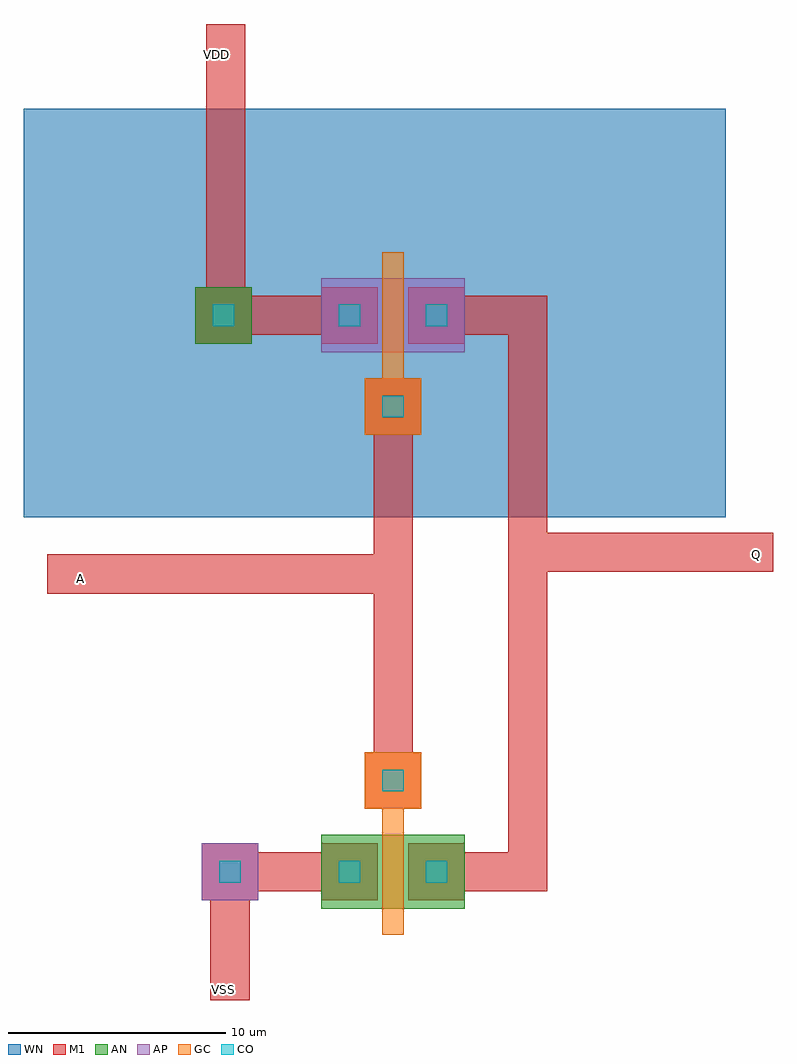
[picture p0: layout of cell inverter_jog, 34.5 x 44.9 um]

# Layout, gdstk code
import gdstk
lib = gdstk.Library(unit=1e-6, precision=1e-07)
def R(c, l, rs):  # rectangles x0, y0, x1, y1
    for r in rs: c.add(gdstk.rectangle(r[:2], r[2:], *l))
AP = (3, 1)
AN = (3, 2)
GC = (8, 1)
CO = (11, 0)
M1 = (13, 0)
WN = (140, 0)

cont_g = lib.new_cell('cont_g')
R(cont_g, GC, [(-1.3,-1.3,1.3,1.3)])
R(cont_g, CO, [(-0.5,-0.5,0.5,0.5)])
R(cont_g, M1, [(-1.3,-1.3,1.3,1.3)])

cont_n = lib.new_cell('cont_n')
R(cont_n, AN, [(-1.3,-1.3,1.3,1.3)])
R(cont_n, CO, [(-0.5,-0.5,0.5,0.5)])
R(cont_n, M1, [(-1.3,-1.3,1.3,1.3)])

cont_p = lib.new_cell('cont_p')
R(cont_p, AP, [(-1.3,-1.3,1.3,1.3)])
R(cont_p, CO, [(-0.5,-0.5,0.5,0.5)])
R(cont_p, M1, [(-1.3,-1.3,1.3,1.3)])

fet_n = lib.new_cell('fet_n')
R(fet_n, AN, [(-3.3,-1.7,3.3,1.7)])
R(fet_n, CO, [(-2.5,-0.5,-1.5,0.5), (1.5,-0.5,2.5,0.5)])
R(fet_n, M1, [(-3.3,-1.3,-0.7,1.3), (0.7,-1.3,3.3,1.3)])
fet_n.add(gdstk.FlexPath([(0,-2.9),(0,2.9)], 1, ends="flush", simple_path=True, layer=8, datatype=1))  # GC

fet_p = lib.new_cell('fet_p')
R(fet_p, AP, [(-3.3,-1.7,3.3,1.7)])
R(fet_p, CO, [(-2.5,-0.5,-1.5,0.5), (1.5,-0.5,2.5,0.5)])
R(fet_p, M1, [(-3.3,-1.3,-0.7,1.3), (0.7,-1.3,3.3,1.3)])
fet_p.add(gdstk.FlexPath([(0,-2.9),(0,2.9)], 1, ends="flush", simple_path=True, layer=8, datatype=1))  # GC

inverter_jog = lib.new_cell('inverter_jog')
R(inverter_jog, WN, [(-15,8.7,17.3,27.5)])
inverter_jog.add(gdstk.FlexPath([(2,14.3),(2,-3.9)], 1.8, ends="flush", simple_path=True, layer=13, datatype=0))  # M1
inverter_jog.add(gdstk.FlexPath([(2.2,6.1),(-13.9,6.1)], 1.8, ends="flush", simple_path=True, layer=13, datatype=0))  # M1
inverter_jog.add(gdstk.FlexPath([(3.5,18),(8.2,18),(8.2,-7.6),(3.5,-7.6)], 1.8, ends="flush", simple_path=True, layer=13, datatype=0))  # M1
inverter_jog.add(gdstk.FlexPath([(8.2,7.1),(19.5,7.1)], 1.8, ends="flush", simple_path=True, layer=13, datatype=0))  # M1
inverter_jog.add(gdstk.FlexPath([(0.5,18),(-5.7,18),(-5.7,31.4)], 1.8, ends="flush", simple_path=True, layer=13, datatype=0))  # M1
inverter_jog.add(gdstk.FlexPath([(-0.3,-7.6),(-5.5,-7.6),(-5.5,-13.5)], 1.8, ends="flush", simple_path=True, layer=13, datatype=0))  # M1
inverter_jog.add(gdstk.Reference(cont_g, (2,13.8)))
inverter_jog.add(gdstk.Reference(cont_g, (2,-3.4)))
inverter_jog.add(gdstk.Reference(cont_n, (-5.8,18)))
inverter_jog.add(gdstk.Reference(cont_p, (-5.5,-7.6)))
inverter_jog.add(gdstk.Reference(fet_n, (2,-7.6)))
inverter_jog.add(gdstk.Reference(fet_p, (2,18)))
inverter_jog.add(gdstk.Label('A', (-12.4,5.9), layer=48, texttype=0))
inverter_jog.add(gdstk.Label('Q', (18.7,7), layer=48, texttype=0))
inverter_jog.add(gdstk.Label('VDD', (-6.1,30), layer=48, texttype=0))
inverter_jog.add(gdstk.Label('VSS', (-5.8,-13), layer=48, texttype=0))

lib.write_gds('inverter_jog.gds')
